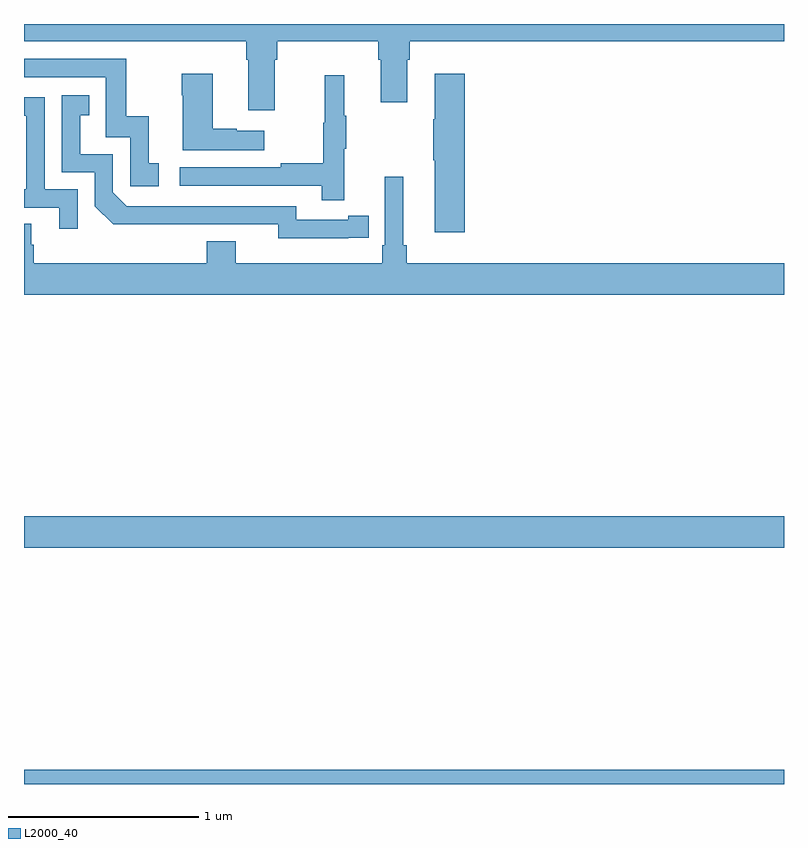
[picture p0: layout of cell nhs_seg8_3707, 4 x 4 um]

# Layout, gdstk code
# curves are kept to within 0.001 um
import gdstk
lib = gdstk.Library(unit=1e-6, precision=1e-09)
def R(c, l, rs):  # rectangles x0, y0, x1, y1
    for r in rs: c.add(gdstk.rectangle(r[:2], r[2:], *l))
def P(c, l, *ps):  # polygons
    for p in ps: c.add(gdstk.Polygon(p, *l))
L2000_40 = (2000, 40)

nhs_seg8_3707 = lib.new_cell('nhs_seg8_3707')
R(nhs_seg8_3707, L2000_40, [(339,1137.9,343,1137.976), (339,1139.144,343,1139.308)])
P(nhs_seg8_3707, L2000_40, [(340.321,1141.712),(340.334,1141.712),(340.334,1141.808),(340.865,1141.808),(340.865,1141.712),(340.877,1141.712),(340.877,1141.488),(341.017,1141.488),(341.017,1141.712),(341.03,1141.712),(341.03,1141.808),(343,1141.808),(343,1141.9),(339,1141.9),(339,1141.808),(340.169,1141.808),(340.169,1141.712),(340.181,1141.712),(340.181,1141.446),(340.321,1141.446)],
  [(339.709,1141.167),(339.656,1141.167),(339.656,1141.414),(339.538,1141.414),(339.538,1141.716),(339,1141.716),(339,1141.62),(339.429,1141.62),(339.429,1141.305),(339.558,1141.305),(339.558,1141.047),(339.709,1141.047)],
  [(340.264,1141.339),(340.121,1141.339),(340.121,1141.349),(339.994,1141.349),(339.994,1141.639),(339.829,1141.639),(339.829,1141.526),(339.836,1141.526),(339.836,1141.235),(340.264,1141.235)],
  [(341.321,1141.639),(341.162,1141.639),(341.162,1141.4),(341.155,1141.4),(341.155,1141.183),(341.162,1141.183),(341.162,1140.804),(341.321,1140.804)],
  [(340.685,1141.243),(340.696,1141.243),(340.696,1141.417),(340.685,1141.417),(340.685,1141.63),(340.582,1141.63),(340.582,1141.38),(340.575,1141.38),(340.575,1141.166),(340.351,1141.166),(340.351,1141.146),(339.819,1141.146),(339.819,1141.05),(340.567,1141.05),(340.567,1140.972),(340.685,1140.972)],
  [(340.706,1140.774),(340.814,1140.774),(340.814,1140.89),(340.706,1140.89),(340.706,1140.87),(340.434,1140.87),(340.434,1140.942),(339.54,1140.942),(339.468,1141.014),(339.468,1141.215),(339.295,1141.215),(339.295,1141.419),(339.344,1141.419),(339.344,1141.525),(339.198,1141.525),(339.198,1141.119),(339.372,1141.119),(339.372,1140.942),(339.47,1140.845),(340.338,1140.846),(340.338,1140.773)],
  [(339.282,1141.029),(339.108,1141.029),(339.108,1141.515),(339,1141.515),(339,1141.418),(339.012,1141.418),(339.012,1141.029),(339,1141.029),(339,1140.933),(339.185,1140.933),(339.185,1140.822),(339.282,1140.822)],
  [(343,1140.64),(341.015,1140.64),(341.015,1140.736),(340.996,1140.736),(340.996,1141.096),(340.899,1141.096),(340.899,1140.736),(340.886,1140.736),(340.886,1140.64),(340.114,1140.64),(340.114,1140.757),(339.962,1140.757),(339.962,1140.64),(339.05,1140.64),(339.05,1140.738),(339.037,1140.738),(339.037,1140.848),(339,1140.848),(339,1140.476),(343,1140.476)])

lib.write_gds('nhs_seg8_3707.gds')
